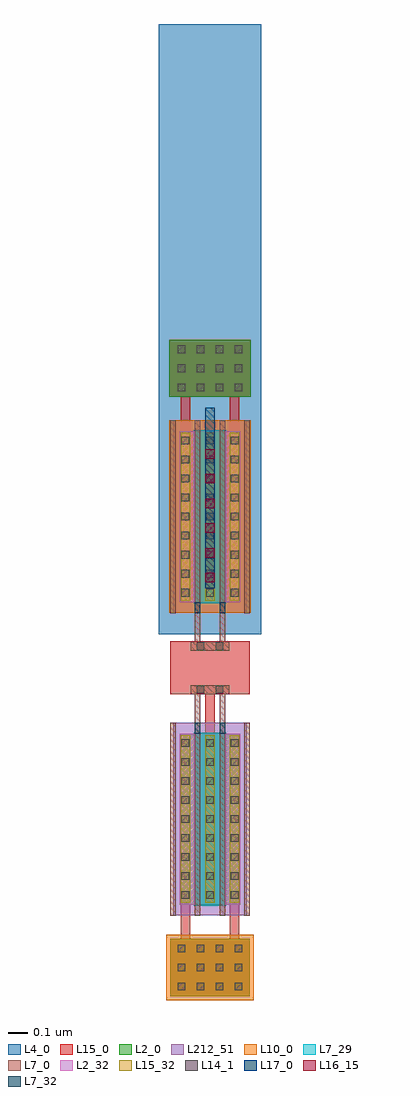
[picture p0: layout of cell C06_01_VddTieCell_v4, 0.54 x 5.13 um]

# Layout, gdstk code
import gdstk
lib = gdstk.Library(unit=1e-6, precision=1e-09)
def R(c, l, rs):  # rectangles x0, y0, x1, y1
    for r in rs: c.add(gdstk.rectangle(r[:2], r[2:], *l))
def A(c, l, x, y, w, h, nx, ny, dx, dy):  # array of equal rectangles
    R(c, l, [(x+i*dx, y+j*dy, x+i*dx+w, y+j*dy+h) for i in range(nx) for j in range(ny)])
L2_0 = (2, 0)
L2_32 = (2, 32)
L4_0 = (4, 0)
L7_0 = (7, 0)
L7_29 = (7, 29)
L7_32 = (7, 32)
L10_0 = (10, 0)
L14_1 = (14, 1)
L15_0 = (15, 0)
L15_32 = (15, 32)
L16_15 = (16, 15)
L17_0 = (17, 0)
L212_51 = (212, 51)

c06_01_vddtiecell_v4_srf = lib.new_cell('C06_01_VddTieCell_v4:SRF_TieCellNMOSRouted:SRF_Nmos:SRF_Gate_ViaM0Mx:SRF_ViaM0M1')
R(c06_01_vddtiecell_v4_srf, L7_0, [(-0.01,-0.004,0.15,0.044)])
R(c06_01_vddtiecell_v4_srf, L14_1, [(0,0,0.04,0.04), (0.1,0,0.14,0.04)])
R(c06_01_vddtiecell_v4_srf, L15_0, [(-0.021,-0.005,0.161,0.045)])

c_c06_01_vddtiecell_v4_srf = lib.new_cell('C06_01_VddTieCell_v4:SRF_TieCellNMOSRouted:SRF_Nmos:SRF_Gate_ViaM0Mx')
c_c06_01_vddtiecell_v4_srf.add(gdstk.Reference(c06_01_vddtiecell_v4_srf, (-0.07,-0.02)))

c_c06_01_vddtiecell_v4_srf_ = lib.new_cell('C06_01_VddTieCell_v4:SRF_TieCellNMOSRouted:SRF_Nmos')
R(c_c06_01_vddtiecell_v4_srf_, L2_0, [(-0.078,0.057,0.238,0.957)])
R(c_c06_01_vddtiecell_v4_srf_, L2_32, [(-0.078,0.057,0,0.957), (0.16,0.057,0.238,0.957)])
A(c_c06_01_vddtiecell_v4_srf_, L7_0, -0.13, 0, 0.03, 1.014, 4, 1, 0.13, 0)
R(c_c06_01_vddtiecell_v4_srf_, L7_0, [(0,1.014,0.03,1.164), (0.13,1.014,0.16,1.164), (-0.02,1.164,0.18,1.212)])
R(c_c06_01_vddtiecell_v4_srf_, L7_29, [(-0.005,0.052,0.165,0.962)])
R(c_c06_01_vddtiecell_v4_srf_, L7_32, [(0,0.957,0.03,1.014), (0.13,0.957,0.16,1.014)])
A(c_c06_01_vddtiecell_v4_srf_, L14_1, -0.07, 0.087, 0.04, 0.04, 3, 9, 0.13, 0.1)
R(c_c06_01_vddtiecell_v4_srf_, L15_0, [(-0.075,0.066,-0.025,0.948), (-0.075,0.066,-0.025,0.948), (0.055,0.066,0.105,0.948), (0.055,0.066,0.105,0.948), (0.185,0.066,0.235,0.948), (0.185,0.066,0.235,0.948), (-0.031,1.163,0.191,1.213)])
A(c_c06_01_vddtiecell_v4_srf_, L15_32, -0.075, 0.066, 0.05, 0.882, 3, 1, 0.13, 0)
R(c_c06_01_vddtiecell_v4_srf_, L212_51, [(-0.113,0.001,0.273,1.013)])
c_c06_01_vddtiecell_v4_srf_.add(gdstk.Reference(c_c06_01_vddtiecell_v4_srf, (0.08,1.188)))

c_c06_01_vddtiecell_v4_srf__ = lib.new_cell('C06_01_VddTieCell_v4:SRF_TieCellNMOSRouted')
c_c06_01_vddtiecell_v4_srf__.add(gdstk.Reference(c_c06_01_vddtiecell_v4_srf_, (0,0)))

c_c06_01_vddtiecell_v4_srf___ = lib.new_cell('C06_01_VddTieCell_v4:SRF_TieCellPMOSRouted:SRF_Pmos:SRF_Drain_ViaM1M2:SRF_ViaM1M2')
R(c_c06_01_vddtiecell_v4_srf___, L15_0, [(0,-0.682,0.05,0.082)])
A(c_c06_01_vddtiecell_v4_srf___, L16_15, 0, -0.65, 0.05, 0.05, 1, 6, 0, 0.13)
R(c_c06_01_vddtiecell_v4_srf___, L17_0, [(0,-0.682,0.05,0.082)])

c_c06_01_vddtiecell_v4_srf____ = lib.new_cell('C06_01_VddTieCell_v4:SRF_TieCellPMOSRouted:SRF_Pmos:SRF_Drain_ViaM1M2')
c_c06_01_vddtiecell_v4_srf____.add(gdstk.Reference(c_c06_01_vddtiecell_v4_srf___, (-0.025,0.3)))

c_c06_01_vddtiecell_v4_srf_____ = lib.new_cell('C06_01_VddTieCell_v4:SRF_TieCellPMOSRouted:SRF_Pmos:SRF_Gate_ViaM0Mx:SRF_ViaM0M1')
R(c_c06_01_vddtiecell_v4_srf_____, L7_0, [(-0.01,-0.004,0.15,0.044)])
R(c_c06_01_vddtiecell_v4_srf_____, L14_1, [(0,0,0.04,0.04), (0.1,0,0.14,0.04)])
R(c_c06_01_vddtiecell_v4_srf_____, L15_0, [(-0.021,-0.005,0.161,0.045)])

c_c06_01_vddtiecell_v4_srf______ = lib.new_cell('C06_01_VddTieCell_v4:SRF_TieCellPMOSRouted:SRF_Pmos:SRF_Gate_ViaM0Mx')
c_c06_01_vddtiecell_v4_srf______.add(gdstk.Reference(c_c06_01_vddtiecell_v4_srf_____, (-0.07,-0.02)))

c_c06_01_vddtiecell_v4_srf_______ = lib.new_cell('C06_01_VddTieCell_v4:SRF_TieCellPMOSRouted:SRF_Pmos')
R(c_c06_01_vddtiecell_v4_srf_______, L2_0, [(-0.078,0.057,0.238,0.957)])
R(c_c06_01_vddtiecell_v4_srf_______, L2_32, [(-0.078,0.057,0,0.957), (0.16,0.057,0.238,0.957)])
A(c_c06_01_vddtiecell_v4_srf_______, L7_0, -0.13, 0, 0.03, 1.014, 4, 1, 0.13, 0)
R(c_c06_01_vddtiecell_v4_srf_______, L7_0, [(-0.02,-0.198,0.18,-0.15), (0,-0.15,0.03,0), (0.13,-0.15,0.16,0)])
R(c_c06_01_vddtiecell_v4_srf_______, L7_29, [(-0.005,0.052,0.165,0.962)])
R(c_c06_01_vddtiecell_v4_srf_______, L7_32, [(0,0,0.03,0.057), (0.13,0,0.16,0.057)])
R(c_c06_01_vddtiecell_v4_srf_______, L10_0, [(-0.134,0.001,0.294,1.013)])
A(c_c06_01_vddtiecell_v4_srf_______, L14_1, -0.07, 0.087, 0.04, 0.04, 3, 9, 0.13, 0.1)
R(c_c06_01_vddtiecell_v4_srf_______, L15_0, [(-0.031,-0.199,0.191,-0.149), (-0.075,0.066,-0.025,0.948), (-0.075,0.066,-0.025,0.948), (0.055,0.066,0.105,0.948), (0.055,0.066,0.105,0.948), (0.185,0.066,0.235,0.948), (0.185,0.066,0.235,0.948)])
A(c_c06_01_vddtiecell_v4_srf_______, L15_32, -0.075, 0.066, 0.05, 0.882, 3, 1, 0.13, 0)
R(c_c06_01_vddtiecell_v4_srf_______, L17_0, [(0.055,0.13,0.105,1.03), (0.055,1.03,0.105,1.08)])
R(c_c06_01_vddtiecell_v4_srf_______, L212_51, [(-0.113,0.001,0.273,1.013)])
c_c06_01_vddtiecell_v4_srf_______.add(gdstk.Reference(c_c06_01_vddtiecell_v4_srf____, (0.08,0.512)))
c_c06_01_vddtiecell_v4_srf_______.add(gdstk.Reference(c_c06_01_vddtiecell_v4_srf______, (0.08,-0.174)))

c_c06_01_vddtiecell_v4_srf________ = lib.new_cell('C06_01_VddTieCell_v4:SRF_TieCellPMOSRouted')
c_c06_01_vddtiecell_v4_srf________.add(gdstk.Reference(c_c06_01_vddtiecell_v4_srf_______, (0,0)))

c_c06_01_vddtiecell_v4_srf_________ = lib.new_cell('C06_01_VddTieCell_v4:SRF_PMOS_Body_Contact:SRF_NbodyContactPhyLen')
R(c_c06_01_vddtiecell_v4_srf_________, L2_0, [(-0.044,-0.23,0.384,0.07)])
R(c_c06_01_vddtiecell_v4_srf_________, L4_0, [(-0.1,-0.286,0.44,0.126)])
A(c_c06_01_vddtiecell_v4_srf_________, L14_1, 0, -0.2, 0.04, 0.04, 4, 3, 0.1, 0.1)
R(c_c06_01_vddtiecell_v4_srf_________, L15_0, [(-0.044,-0.23,0.384,0.07)])

c_c06_01_vddtiecell_v4_srf__________ = lib.new_cell('C06_01_VddTieCell_v4:SRF_PMOS_Body_Contact')
c_c06_01_vddtiecell_v4_srf__________.add(gdstk.Reference(c_c06_01_vddtiecell_v4_srf_________, (0,0)))

c_c06_01_vddtiecell_v4_srf___________ = lib.new_cell('C06_01_VddTieCell_v4:SRF_NMOS_Body_Contact:SRF_PbodyContactPhyLen')
R(c_c06_01_vddtiecell_v4_srf___________, L2_0, [(-0.04,-0.23,0.38,0.07)])
R(c_c06_01_vddtiecell_v4_srf___________, L10_0, [(-0.061,-0.251,0.401,0.091)])
A(c_c06_01_vddtiecell_v4_srf___________, L14_1, 0, -0.2, 0.04, 0.04, 4, 3, 0.1, 0.1)
R(c_c06_01_vddtiecell_v4_srf___________, L15_0, [(-0.04,-0.23,0.38,0.07)])

c_c06_01_vddtiecell_v4_srf____________ = lib.new_cell('C06_01_VddTieCell_v4:SRF_NMOS_Body_Contact')
c_c06_01_vddtiecell_v4_srf____________.add(gdstk.Reference(c_c06_01_vddtiecell_v4_srf___________, (0,0)))

c06_01_vddtiecell_v4 = lib.new_cell('C06_01_VddTieCell_v4')
R(c06_01_vddtiecell_v4, L4_0, [(-0.19,1.479,0.35,2.671), (-0.19,1.479,0.35,4.687)])
R(c06_01_vddtiecell_v4, L15_0, [(-0.075,-0.123,-0.025,0.066), (0.185,-0.123,0.235,0.066), (0.055,0.948,0.105,1.163), (-0.075,2.538,-0.025,2.727), (0.185,2.538,0.235,2.727)])
c06_01_vddtiecell_v4.add(gdstk.FlexPath([(0.08,1.441),(0.08,1.163)], 0.42, ends="flush", simple_path=True, layer=15, datatype=0))  # L15_0
c06_01_vddtiecell_v4.add(gdstk.Reference(c_c06_01_vddtiecell_v4_srf__, (0,0)))
c06_01_vddtiecell_v4.add(gdstk.Reference(c_c06_01_vddtiecell_v4_srf________, (0,1.59)))
c06_01_vddtiecell_v4.add(gdstk.Reference(c_c06_01_vddtiecell_v4_srf__________, (-0.09,2.957)))
c06_01_vddtiecell_v4.add(gdstk.Reference(c_c06_01_vddtiecell_v4_srf____________, (-0.09,-0.193)))

lib.write_gds('C06_01_VddTieCell_v4.gds')
